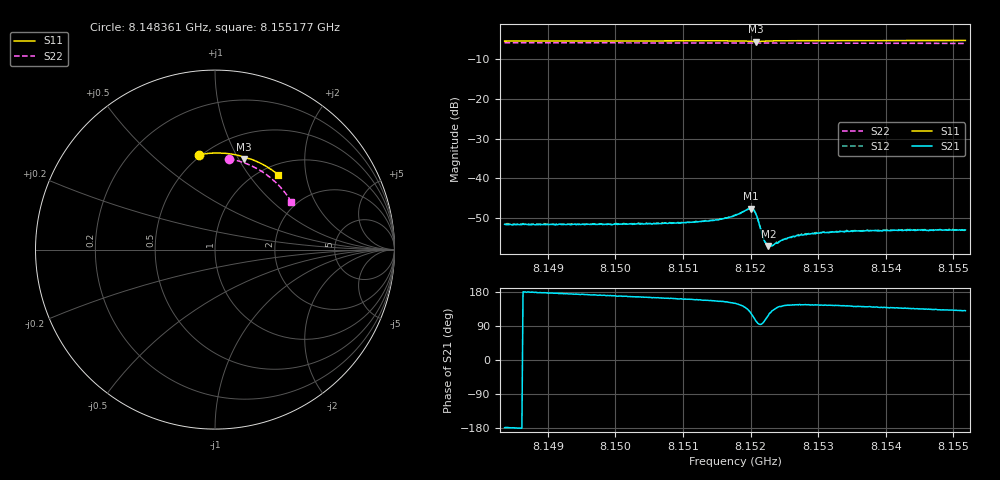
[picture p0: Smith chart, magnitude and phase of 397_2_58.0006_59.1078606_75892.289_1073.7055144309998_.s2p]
#  HZ  S  RI  R  50.00
! Rohde & Schwarz Vector Network Analyzer
! Rohde-Schwarz,ZNB20-2Port,1311601062101988,3.16
! Created: UTC 3/21/2024, 1:08:05 AM
! freq[Hz]  re:S11  im:S11  re:S21  im:S21  re:S12  im:S12  re:S22  im:S22
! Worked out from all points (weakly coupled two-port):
!   401 points, 8.148361 GHz to 8.155177 GHz, reference 50 ohm
!   highest |S21| = -47.59 dB at 8.152008 GHz (marker M1); lowest = -57.0 dB at 8.152264 GHz (marker M2)
!   lowest |S11| = -5.5 dB at 8.152076 GHz (marker M3), VSWR 3.24, Z = 37.8 + j52.8 ohm
!   |S11| at or under -10 dB: nowhere
!   |S22| runs from -6.0 to -5.8 dB; largest |S21 - S12| = 0.00012
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8.1483615e9  -0.0874 0.5288  -0.00264 -7.02e-05  -0.00265 -4.37e-05  0.077 0.506
8.1495032e9  -0.0083 0.5378  -0.00262 0.000289  -0.00263 0.000376  0.1489 0.4882
8.1506449e9  0.0713 0.535  -0.0026 0.000752  -0.00259 0.000772  0.2167 0.4601
8.1514117e9  0.1247 0.526  -0.00271 0.00115  -0.0027 0.00121  0.2596 0.4362
8.1516161e9  0.1392 0.5224  -0.00281 0.0014  -0.00279 0.00144  0.2705 0.4292
8.1517695e9  0.1505 0.5187  -0.00295 0.00172  -0.00293 0.00181  0.2785 0.4236
8.1519569e9  0.1637 0.5097  -0.00283 0.00294  -0.0028 0.003  0.2882 0.4164
8.1520081e9  0.1651 0.5057  -0.00225 0.00352  -0.00225 0.00355  0.2906 0.4145
8.1520421e9  0.1644 0.5035  -0.00163 0.00371  -0.00161 0.00372  0.2923 0.4132
8.1520762e9  0.163 0.5031  -0.000846 0.0035  -0.000818 0.00355  0.2938 0.4119
8.1521103e9  0.1623 0.5044  -0.000325 0.00299  -0.000271 0.003  0.2955 0.4108
8.1521955e9  0.1665 0.5089  -0.000311 0.00167  -0.000293 0.0017  0.2999 0.4077
8.1522296e9  0.1694 0.5097  -0.000498 0.00143  -0.000471 0.00145  0.3016 0.4064
8.1522637e9  0.1724 0.5099  -0.000662 0.00124  -0.000631 0.00125  0.3034 0.4053
8.1522977e9  0.1752 0.5099  -0.000826 0.00117  -0.000819 0.00115  0.3051 0.4037
8.1524852e9  0.1899 0.507  -0.00136 0.00101  -0.00135 0.00104  0.3145 0.3963
8.1526556e9  0.202 0.5032  -0.00153 0.00104  -0.00151 0.00105  0.3228 0.3892
8.1527237e9  0.2066 0.5015  -0.0016 0.00105  -0.00157 0.00114  0.326 0.3864
8.1529112e9  0.2192 0.4967  -0.00168 0.00114  -0.00167 0.00116  0.3348 0.3785
8.1533372e9  0.2465 0.4846  -0.00172 0.00128  -0.00171 0.00131  0.3539 0.3596
8.1540529e9  0.2902 0.4612  -0.00161 0.00149  -0.00165 0.00151  0.3837 0.3258
8.1551775e9  0.3537 0.4165  -0.00144 0.00171  -0.00145 0.00173  0.4237 0.2679
